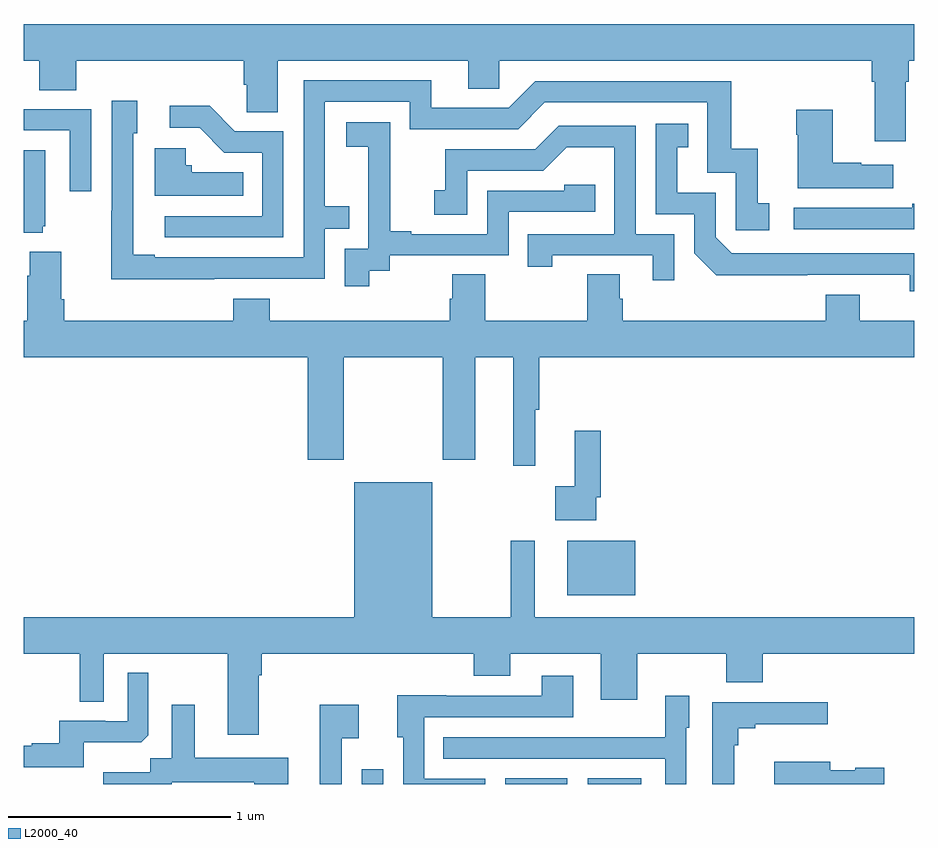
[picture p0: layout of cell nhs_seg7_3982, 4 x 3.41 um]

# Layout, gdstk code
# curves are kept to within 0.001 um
import gdstk
lib = gdstk.Library(unit=1e-6, precision=1e-09)
def R(c, l, rs):  # rectangles x0, y0, x1, y1
    for r in rs: c.add(gdstk.rectangle(r[:2], r[2:], *l))
def P(c, l, *ps):  # polygons
    for p in ps: c.add(gdstk.Polygon(p, *l))
L2000_40 = (2000, 40)

nhs_seg7_3982 = lib.new_cell('nhs_seg7_3982')
R(nhs_seg7_3982, L2000_40, [(364.518,1032,364.614,1032.067), (365.162,1032,365.44,1032.025), (365.534,1032,365.773,1032.025), (365.441,1032.848,365.746,1033.093)])
P(nhs_seg7_3982, L2000_40, [(366.961,1035.152),(366.974,1035.152),(366.974,1035.248),(367,1035.248),(367,1035.412),(363,1035.412),(363,1035.248),(363.071,1035.248),(363.071,1035.115),(363.236,1035.115),(363.236,1035.248),(363.989,1035.248),(363.989,1035.139),(364.002,1035.139),(364.002,1035.016),(364.141,1035.016),(364.141,1035.248),(364.997,1035.248),(364.997,1035.121),(365.136,1035.121),(365.136,1035.248),(366.809,1035.248),(366.809,1035.152),(366.821,1035.152),(366.821,1034.886),(366.961,1034.886)],
  [(363.857,1034.268),(364.353,1034.268),(364.353,1034.493),(364.463,1034.493),(364.463,1034.594),(364.353,1034.594),(364.353,1035.063),(364.734,1035.063),(364.734,1034.94),(365.22,1034.94),(365.34,1035.06),(366.069,1035.06),(366.069,1034.745),(366.198,1034.745),(366.198,1034.487),(366.349,1034.487),(366.349,1034.607),(366.296,1034.607),(366.296,1034.853),(366.178,1034.853),(366.178,1035.156),(365.298,1035.156),(365.178,1035.036),(364.831,1035.036),(364.831,1035.159),(364.257,1035.159),(364.257,1034.364),(363.589,1034.364),(363.589,1034.377),(363.492,1034.377),(363.492,1034.922),(363.511,1034.922),(363.511,1035.067),(363.396,1035.067),(363.396,1034.573),(363.394,1034.573),(363.394,1034.267)],
  [(364.167,1034.931),(363.948,1034.931),(363.835,1035.044),(363.657,1035.044),(363.657,1034.946),(363.791,1034.946),(363.902,1034.835),(364.071,1034.835),(364.071,1034.55),(363.633,1034.55),(363.633,1034.454),(364.167,1034.454)],
  [(363.303,1035.03),(363,1035.03),(363,1034.934),(363.207,1034.934),(363.207,1034.661),(363.303,1034.661)],
  [(366.904,1034.779),(366.761,1034.779),(366.761,1034.789),(366.634,1034.789),(366.634,1035.028),(366.469,1035.028),(366.469,1034.915),(366.476,1034.915),(366.476,1034.675),(366.904,1034.675)],
  [(364.552,1034.305),(364.644,1034.305),(364.644,1034.373),(365.178,1034.373),(365.178,1034.568),(365.567,1034.568),(365.567,1034.691),(365.427,1034.691),(365.427,1034.664),(365.082,1034.664),(365.082,1034.469),(364.741,1034.469),(364.741,1034.482),(364.646,1034.482),(364.646,1034.765),(364.647,1034.765),(364.647,1034.971),(364.449,1034.971),(364.449,1034.861),(364.547,1034.861),(364.547,1034.632),(364.548,1034.632),(364.548,1034.403),(364.443,1034.403),(364.443,1034.235),(364.552,1034.235)],
  [(367,1034.382),(366.18,1034.382),(366.108,1034.454),(366.108,1034.655),(365.935,1034.655),(365.935,1034.859),(365.984,1034.859),(365.984,1034.965),(365.838,1034.965),(365.838,1034.559),(366.012,1034.559),(366.012,1034.382),(366.11,1034.285),(366.978,1034.286),(366.978,1034.213),(367,1034.213)],
  [(365.922,1034.469),(365.748,1034.469),(365.748,1034.955),(365.402,1034.955),(365.297,1034.85),(364.894,1034.85),(364.894,1034.665),(364.845,1034.665),(364.845,1034.555),(364.992,1034.555),(364.992,1034.754),(365.334,1034.754),(365.438,1034.858),(365.652,1034.858),(365.652,1034.469),(365.263,1034.469),(365.263,1034.322),(365.374,1034.322),(365.374,1034.373),(365.825,1034.373),(365.825,1034.262),(365.922,1034.262)],
  [(363.986,1034.746),(363.756,1034.746),(363.756,1034.778),(363.729,1034.778),(363.729,1034.854),(363.59,1034.854),(363.59,1034.642),(363.986,1034.642)],
  [(363.086,1034.505),(363.097,1034.505),(363.097,1034.845),(363,1034.845),(363,1034.474),(363.086,1034.474)],
  [(367,1034.606),(366.991,1034.606),(366.991,1034.586),(366.459,1034.586),(366.459,1034.49),(367,1034.49)],
  [(365.297,1033.68),(365.315,1033.68),(365.315,1033.916),(367,1033.916),(367,1034.08),(366.754,1034.08),(366.754,1034.197),(366.602,1034.197),(366.602,1034.08),(365.69,1034.08),(365.69,1034.178),(365.677,1034.178),(365.677,1034.288),(365.53,1034.288),(365.53,1034.08),(365.073,1034.08),(365.073,1034.288),(364.925,1034.288),(364.925,1034.178),(364.913,1034.178),(364.913,1034.08),(364.106,1034.08),(364.106,1034.179),(363.941,1034.179),(363.941,1034.08),(363.182,1034.08),(363.182,1034.176),(363.169,1034.176),(363.169,1034.389),(363.029,1034.389),(363.029,1034.282),(363.017,1034.282),(363.017,1034.08),(363,1034.08),(363,1033.916),(364.277,1033.916),(364.277,1033.455),(364.437,1033.455),(364.437,1033.916),(364.882,1033.916),(364.882,1033.455),(365.029,1033.455),(365.029,1033.916),(365.198,1033.916),(365.198,1033.428),(365.297,1033.428)],
  [(365.571,1033.288),(365.591,1033.288),(365.591,1033.585),(365.474,1033.585),(365.474,1033.337),(365.388,1033.337),(365.388,1033.184),(365.571,1033.184)],
  [(364.057,1032.488),(364.07,1032.488),(364.07,1032.584),(365.021,1032.584),(365.021,1032.485),(365.185,1032.485),(365.185,1032.584),(365.591,1032.584),(365.591,1032.378),(365.755,1032.378),(365.755,1032.584),(366.155,1032.584),(366.155,1032.456),(366.319,1032.456),(366.319,1032.584),(367,1032.584),(367,1032.748),(365.296,1032.748),(365.296,1033.093),(365.187,1033.093),(365.187,1032.748),(364.834,1032.748),(364.834,1033.354),(364.484,1033.354),(364.484,1032.748),(363,1032.748),(363,1032.584),(363.252,1032.584),(363.252,1032.37),(363.36,1032.37),(363.36,1032.584),(363.917,1032.584),(363.917,1032.222),(364.057,1032.222)],
  [(363.271,1032.188),(363.529,1032.188),(363.561,1032.219),(363.561,1032.499),(363.468,1032.499),(363.468,1032.282),(363.368,1032.282),(363.368,1032.285),(363.161,1032.285),(363.161,1032.184),(363.037,1032.184),(363.037,1032.172),(363,1032.172),(363,1032.075),(363.271,1032.075)],
  [(365.073,1032.024),(364.8,1032.024),(364.8,1032.3),(365.467,1032.3),(365.467,1032.487),(365.327,1032.487),(365.327,1032.396),(364.897,1032.396),(364.897,1032.398),(364.679,1032.398),(364.679,1032.21),(364.704,1032.21),(364.704,1032),(365.073,1032)],
  [(365.976,1032.252),(365.989,1032.252),(365.989,1032.397),(365.88,1032.397),(365.88,1032.211),(365.563,1032.211),(365.563,1032.21),(364.885,1032.21),(364.885,1032.114),(365.88,1032.114),(365.88,1032),(365.976,1032)],
  [(366.191,1032.173),(366.209,1032.173),(366.209,1032.25),(366.286,1032.25),(366.286,1032.269),(366.61,1032.269),(366.61,1032.366),(366.093,1032.366),(366.093,1032),(366.191,1032)],
  [(363.666,1032.008),(364.037,1032.008),(364.037,1032),(364.189,1032),(364.189,1032.118),(363.769,1032.118),(363.769,1032.355),(363.665,1032.355),(363.665,1032.116),(363.57,1032.116),(363.57,1032.052),(363.359,1032.052),(363.359,1032),(363.666,1032)],
  [(364.428,1032.206),(364.504,1032.206),(364.504,1032.355),(364.331,1032.355),(364.331,1032),(364.428,1032)],
  [(366.865,1032.074),(366.735,1032.074),(366.735,1032.061),(366.622,1032.061),(366.622,1032.1),(366.371,1032.1),(366.371,1032),(366.865,1032)])

lib.write_gds('nhs_seg7_3982.gds')
